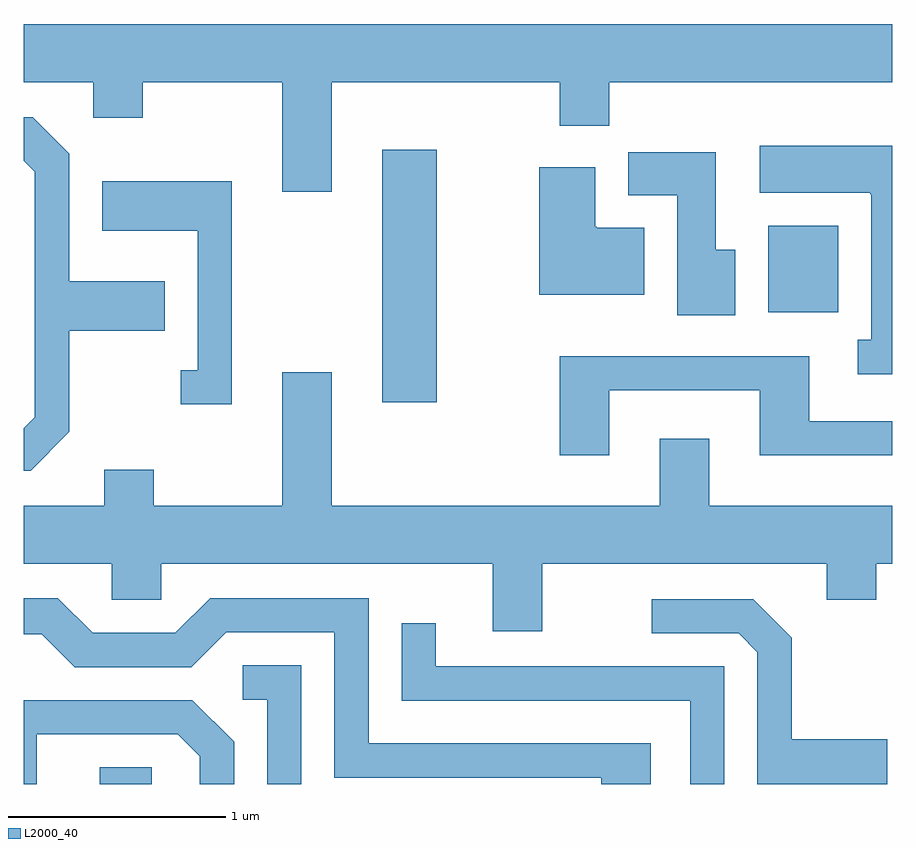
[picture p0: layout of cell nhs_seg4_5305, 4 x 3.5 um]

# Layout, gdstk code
import gdstk
lib = gdstk.Library(unit=1e-6, precision=1e-09)
def R(c, l, rs):  # rectangles x0, y0, x1, y1
    for r in rs: c.add(gdstk.rectangle(r[:2], r[2:], *l))
def P(c, l, *ps):  # polygons
    for p in ps: c.add(gdstk.Polygon(p, *l))
L2000_40 = (2000, 40)

nhs_seg4_5305 = lib.new_cell('nhs_seg4_5305')
R(nhs_seg4_5305, L2000_40, [(341.961,1255.982,342.199,1256.059), (343.261,1257.741,343.514,1258.904), (345.041,1258.156,345.364,1258.554)])
P(nhs_seg4_5305, L2000_40, [(343.029,1259.216),(344.081,1259.216),(344.081,1259.016),(344.309,1259.016),(344.309,1259.216),(345.611,1259.216),(345.611,1259.484),(341.611,1259.484),(341.611,1259.216),(341.931,1259.216),(341.931,1259.051),(342.159,1259.051),(342.159,1259.216),(342.801,1259.216),(342.801,1258.711),(343.029,1258.711)],
  [(341.819,1257.604),(341.819,1258.071),(342.259,1258.071),(342.259,1258.299),(341.819,1258.299),(341.819,1258.887),(341.652,1259.054),(341.611,1259.054),(341.611,1258.854),(341.661,1258.804),(341.661,1257.672),(341.611,1257.621),(341.611,1257.426),(341.642,1257.426)],
  [(345.611,1258.924),(345.001,1258.924),(345.001,1258.706),(345.51,1258.706),(345.51,1258.7),(345.516,1258.7),(345.516,1258.029),(345.453,1258.029),(345.453,1257.871),(345.611,1257.871)],
  [(344.889,1258.444),(344.799,1258.444),(344.799,1258.894),(344.396,1258.894),(344.396,1258.696),(344.621,1258.696),(344.621,1258.141),(344.889,1258.141)],
  [(344.469,1258.544),(344.25,1258.544),(344.25,1258.55),(344.244,1258.55),(344.244,1258.824),(343.986,1258.824),(343.986,1258.236),(344.469,1258.236)],
  [(342.569,1258.759),(341.971,1258.759),(341.971,1258.531),(342.411,1258.531),(342.411,1257.889),(342.333,1257.889),(342.333,1257.731),(342.569,1257.731)],
  [(344.309,1257.796),(345.001,1257.796),(345.001,1257.496),(345.611,1257.496),(345.611,1257.654),(345.229,1257.654),(345.229,1257.954),(344.081,1257.954),(344.081,1257.496),(344.309,1257.496)],
  [(343.999,1256.996),(345.311,1256.996),(345.311,1256.831),(345.539,1256.831),(345.539,1256.996),(345.611,1256.996),(345.611,1257.264),(344.769,1257.264),(344.769,1257.574),(344.541,1257.574),(344.541,1257.264),(343.029,1257.264),(343.029,1257.879),(342.801,1257.879),(342.801,1257.264),(342.209,1257.264),(342.209,1257.429),(341.981,1257.429),(341.981,1257.264),(341.611,1257.264),(341.611,1256.996),(342.016,1256.996),(342.016,1256.831),(342.244,1256.831),(342.244,1256.996),(343.771,1256.996),(343.771,1256.686),(343.999,1256.686)],
  [(344.499,1256.169),(343.199,1256.169),(343.199,1256.839),(342.469,1256.839),(342.309,1256.679),(341.927,1256.679),(341.767,1256.839),(341.611,1256.839),(341.611,1256.671),(341.694,1256.671),(341.844,1256.521),(342.382,1256.521),(342.542,1256.681),(343.041,1256.681),(343.041,1256.011),(344.271,1256.011),(344.271,1255.982),(344.499,1255.982)],
  [(345.589,1256.189),(345.149,1256.189),(345.149,1256.657),(344.972,1256.834),(344.503,1256.834),(344.503,1256.676),(344.904,1256.676),(344.991,1256.589),(344.991,1255.982),(345.589,1255.982)],
  [(344.839,1256.524),(343.509,1256.524),(343.509,1256.723),(343.351,1256.723),(343.351,1256.366),(344.681,1256.366),(344.681,1255.982),(344.839,1255.982)],
  [(342.889,1256.529),(342.618,1256.529),(342.618,1256.371),(342.731,1256.371),(342.731,1255.982),(342.889,1255.982)],
  [(341.669,1256.211),(342.319,1256.211),(342.421,1256.109),(342.421,1255.982),(342.579,1255.982),(342.579,1256.177),(342.387,1256.369),(341.611,1256.369),(341.611,1255.982),(341.669,1255.982)])

lib.write_gds('nhs_seg4_5305.gds')
